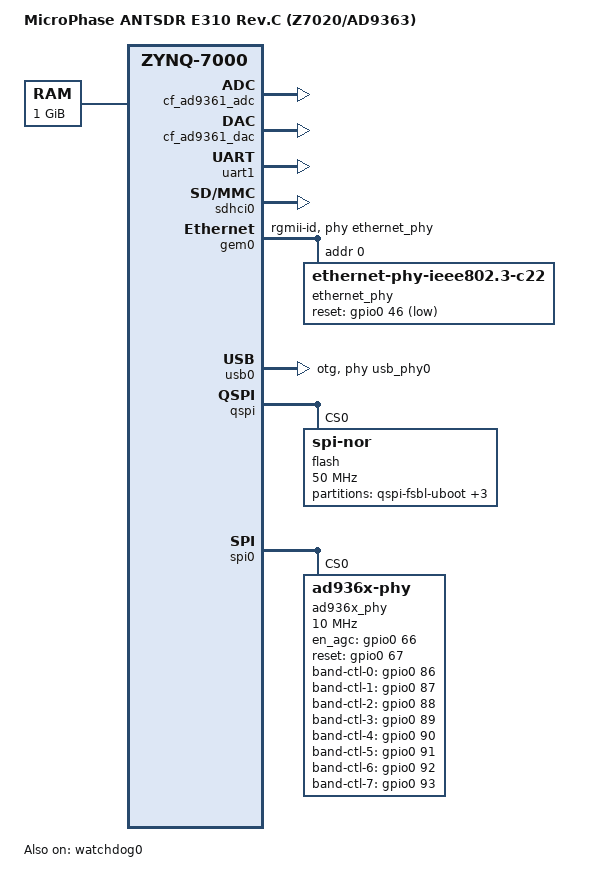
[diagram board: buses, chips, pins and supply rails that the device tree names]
// SPDX-License-Identifier: GPL-2.0-only
/*
 * MicroPhase ANTSDR E310 Rev.C (Zynq-7020 / AD9363)
 *
 * Copyright (C) 2021-2024 MicroPhase Inc.
 * Copyright (C) 2026 Cyfrit <i@cli.tf>
 */

#include "zynq.dtsi"
#include <dt-bindings/gpio/gpio.h>
#include <dt-bindings/interrupt-controller/irq.h>

#define AD9361_EXT_BAND_CTL_SHORTHANDS
#include <dt-bindings/iio/adc/adi,ad9361.h>

/ {
	model = "MicroPhase ANTSDR E310 Rev.C (Z7020/AD9363)";
	compatible = "microphase,antsdr-e310-revc", "microphase,antsdr-e310",
		     "xlnx,zynq-7000";

	aliases {
		ethernet0 = &gem0;
		mmc0 = &sdhci0;
		serial0 = &uart1;
	};

	memory@0 {
		device_type = "memory";
		reg = <0x00000000 0x40000000>;
	};

	chosen {
		stdout-path = "serial0:115200n8";
	};

	clocks {
		ad9361_clkin: ad9361-refclk {
			#clock-cells = <0>;
			compatible = "adjustable-clock";
			clock-frequency = <40000000>;
			clock-accuracy = <200000>;
			clock-output-names = "ad9361_ext_refclk";
		};
	};

	usb_phy0: usb-phy@e0002000 {
		compatible = "ulpi-phy";
		#phy-cells = <0>;
		reg = <0xe0002000 0x1000>;
		view-port = <0x0170>;
		drv-vbus;
	};

	fpga_axi: fpga-axi {
		compatible = "simple-bus";
		#address-cells = <1>;
		#size-cells = <1>;
		ranges;

		rx_dma: dma@7c400000 {
			compatible = "adi,axi-dmac-1.00.a";
			reg = <0x7c400000 0x10000>;
			#dma-cells = <1>;
			interrupt-parent = <&intc>;
			interrupts = <0 57 IRQ_TYPE_LEVEL_HIGH>;
			clocks = <&clkc 16>;

			adi,channels {
				#address-cells = <1>;
				#size-cells = <0>;

				dma-channel@0 {
					reg = <0>;
					adi,source-bus-width = <32>;
					adi,source-bus-type = <2>;
					adi,destination-bus-width = <64>;
					adi,destination-bus-type = <0>;
				};
			};
		};

		tx_dma: dma@7c420000 {
			compatible = "adi,axi-dmac-1.00.a";
			reg = <0x7c420000 0x10000>;
			#dma-cells = <1>;
			interrupt-parent = <&intc>;
			interrupts = <0 56 IRQ_TYPE_LEVEL_HIGH>;
			clocks = <&clkc 16>;

			adi,channels {
				#address-cells = <1>;
				#size-cells = <0>;

				dma-channel@0 {
					reg = <0>;
					adi,source-bus-width = <64>;
					adi,source-bus-type = <0>;
					adi,destination-bus-width = <32>;
					adi,destination-bus-type = <2>;
				};
			};
		};

		cf_ad9361_adc: cf-ad9361-lpc@79020000 {
			compatible = "adi,axi-ad9361-6.00.a";
			reg = <0x79020000 0x6000>;
			dmas = <&rx_dma 0>;
			dma-names = "rx";
			spibus-connected = <&ad936x_phy>;
			adi,axi-decimation-core-available;
		};

		cf_ad9361_dac: cf-ad9361-dds-core-lpc@79024000 {
			compatible = "adi,axi-ad9361-dds-6.00.a";
			reg = <0x79024000 0x1000>;
			clocks = <&ad936x_phy 13>;
			clock-names = "sampl_clk";
			dmas = <&tx_dma 0>;
			dma-names = "tx";
			adi,axi-interpolation-core-available;
			adi,axi-dds-default-scale = <0>;
		};

		axi_tdd: tdd@7c440000 {
			compatible = "adi,axi-tdd-1.00";
			reg = <0x7c440000 0x10000>;
			clocks = <&clkc 15>, <&ad936x_phy 13>;
			clock-names = "s_axi_aclk", "intf_clk";
			label = "e310-tdd";
		};

		e310_vcxo: vcxo-control@43c00000 {
			compatible = "microphase,antsdr-e310-vcxo";
			reg = <0x43c00000 0x1000>;
		};
	};
};

&uart1 {
	status = "okay";
};

&sdhci0 {
	status = "okay";
	xlnx,has-cd = <0>;
	xlnx,has-power = <0>;
	xlnx,has-wp = <0>;
};

&watchdog0 {
	status = "okay";
	reset-on-timeout;
};

&gem0 {
	status = "okay";
	phy-mode = "rgmii-id";
	phy-handle = <&ethernet_phy>;
	#address-cells = <1>;
	#size-cells = <0>;

	ethernet_phy: ethernet-phy@0 {
		compatible = "ethernet-phy-ieee802.3-c22";
		reg = <0>;
		reset-gpios = <&gpio0 46 GPIO_ACTIVE_LOW>;
	};
};

&usb0 {
	status = "okay";
	/* The pinned ChipIdea driver drives this legacy resetb GPIO low, then high. */
	xlnx,phy-reset-gpio = <&gpio0 47 GPIO_ACTIVE_LOW>;
	dr_mode = "otg";
	usb-phy = <&usb_phy0>;
};

&qspi {
	status = "okay";
	is-dual = <0>;
	num-cs = <1>;
	spi-nor-locking-disable;

	flash@0 {
		compatible = "jedec,spi-nor";
		reg = <0>;
		spi-max-frequency = <50000000>;
		spi-tx-bus-width = <1>;
		spi-rx-bus-width = <4>;

		partitions {
			compatible = "fixed-partitions";
			#address-cells = <1>;
			#size-cells = <1>;

			partition@0 {
				label = "qspi-fsbl-uboot";
				reg = <0x000000 0x100000>;
			};

			partition@100000 {
				label = "qspi-uboot-env";
				reg = <0x100000 0x020000>;
			};

			partition@120000 {
				label = "qspi-nvmfs";
				reg = <0x120000 0x0e0000>;
			};

			partition@200000 {
				label = "qspi-linux";
				reg = <0x200000 0x1e00000>;
			};
		};
	};
};

&adc {
	xlnx,channels {
		#address-cells = <1>;
		#size-cells = <0>;

		channel@0 {
			reg = <0>;
		};
	};
};

&spi0 {
	status = "okay";

	ad936x_phy: ad936x-phy@0 {
		reg = <0>;
		spi-cpha;
		spi-max-frequency = <10000000>;
		#clock-cells = <1>;

		clocks = <&ad9361_clkin>;
		clock-names = "ad9361_ext_refclk";
		clock-output-names = "rx_sampl_clk", "tx_sampl_clk";

		adi,pp-tx-swap-enable;
		adi,pp-rx-swap-enable;
		adi,rx-frame-pulse-mode-enable;
		adi,xo-disable-use-ext-refclk-enable;
		adi,full-port-enable;
		adi,digital-interface-tune-fir-disable;
		adi,digital-interface-tune-skip-mode = <0>;
		adi,tx-fb-clock-delay = <0>;
		adi,tx-data-delay = <9>;
		adi,swap-ports-enable;

		adi,frequency-division-duplex-mode-enable;

		adi,rx-rf-port-input-select = <0>;
		adi,rx-rf-port-input-select-lock-enable;
		adi,tx-rf-port-input-select = <0>;
		adi,tx-rf-port-input-select-lock-enable;
		adi,tx-attenuation-mdB = <10000>;
		adi,tx-lo-powerdown-managed-enable;

		adi,rf-rx-bandwidth-hz = <18000000>;
		adi,rf-tx-bandwidth-hz = <18000000>;
		adi,rx-synthesizer-frequency-hz = /bits/ 64 <2400000000>;
		adi,tx-synthesizer-frequency-hz = /bits/ 64 <2450000000>;
		adi,rx-path-clock-frequencies =
			<983040000 245760000 122880000 61440000 30720000 30720000>;
		adi,tx-path-clock-frequencies =
			<983040000 122880000 122880000 61440000 30720000 30720000>;

		adi,gc-rx1-mode = <2>;
		adi,gc-rx2-mode = <2>;
		adi,gc-adc-ovr-sample-size = <4>;
		adi,gc-adc-small-overload-thresh = <47>;
		adi,gc-adc-large-overload-thresh = <58>;
		adi,gc-lmt-overload-high-thresh = <800>;
		adi,gc-lmt-overload-low-thresh = <704>;
		adi,gc-dec-pow-measurement-duration = <8192>;
		adi,gc-low-power-thresh = <24>;

		adi,mgc-inc-gain-step = <2>;
		adi,mgc-dec-gain-step = <2>;
		adi,mgc-split-table-ctrl-inp-gain-mode = <0>;

		adi,agc-attack-delay-extra-margin-us = <1>;
		adi,agc-outer-thresh-high = <5>;
		adi,agc-outer-thresh-high-dec-steps = <2>;
		adi,agc-inner-thresh-high = <10>;
		adi,agc-inner-thresh-high-dec-steps = <1>;
		adi,agc-inner-thresh-low = <12>;
		adi,agc-inner-thresh-low-inc-steps = <1>;
		adi,agc-outer-thresh-low = <18>;
		adi,agc-outer-thresh-low-inc-steps = <2>;
		adi,agc-adc-small-overload-exceed-counter = <10>;
		adi,agc-adc-large-overload-exceed-counter = <10>;
		adi,agc-adc-large-overload-inc-steps = <2>;
		adi,agc-lmt-overload-large-exceed-counter = <10>;
		adi,agc-lmt-overload-small-exceed-counter = <10>;
		adi,agc-lmt-overload-large-inc-steps = <2>;
		adi,agc-gain-update-interval-us = <1000>;

		adi,fagc-dec-pow-measurement-duration = <64>;
		adi,fagc-lp-thresh-increment-steps = <1>;
		adi,fagc-lp-thresh-increment-time = <5>;
		adi,fagc-energy-lost-stronger-sig-gain-lock-exit-cnt = <8>;
		adi,fagc-final-overrange-count = <3>;
		adi,fagc-gain-index-type-after-exit-rx-mode = <0>;
		adi,fagc-lmt-final-settling-steps = <1>;
		adi,fagc-lock-level = <10>;
		adi,fagc-lock-level-gain-increase-upper-limit = <5>;
		adi,fagc-lock-level-lmt-gain-increase-enable;
		adi,fagc-lpf-final-settling-steps = <1>;
		adi,fagc-optimized-gain-offset = <5>;
		adi,fagc-power-measurement-duration-in-state5 = <64>;
		adi,fagc-rst-gla-engergy-lost-goto-optim-gain-enable;
		adi,fagc-rst-gla-engergy-lost-sig-thresh-below-ll = <10>;
		adi,fagc-rst-gla-engergy-lost-sig-thresh-exceeded-enable;
		adi,fagc-rst-gla-if-en-agc-pulled-high-mode = <0>;
		adi,fagc-rst-gla-large-adc-overload-enable;
		adi,fagc-rst-gla-large-lmt-overload-enable;
		adi,fagc-rst-gla-stronger-sig-thresh-above-ll = <10>;
		adi,fagc-rst-gla-stronger-sig-thresh-exceeded-enable;
		adi,fagc-state-wait-time-ns = <260>;
		adi,fagc-use-last-lock-level-for-set-gain-enable;

		adi,rssi-restart-mode = <3>;
		adi,rssi-delay = <1>;
		adi,rssi-wait = <1>;
		adi,rssi-duration = <1000>;
		adi,ctrl-outs-index = <0>;
		adi,ctrl-outs-enable-mask = <0xff>;

		adi,temp-sense-measurement-interval-ms = <1000>;
		adi,temp-sense-offset-signed = <0xce>;
		adi,temp-sense-periodic-measurement-enable;
		adi,aux-dac-manual-mode-enable;
		adi,aux-dac1-default-value-mV = <0>;
		adi,aux-dac1-rx-delay-us = <0>;
		adi,aux-dac1-tx-delay-us = <0>;
		adi,aux-dac2-default-value-mV = <0>;
		adi,aux-dac2-rx-delay-us = <0>;
		adi,aux-dac2-tx-delay-us = <0>;

		en_agc-gpios = <&gpio0 66 GPIO_ACTIVE_HIGH>;
		/* ADI's driver uses logical 0/1 as the physical RESETB levels. */
		reset-gpios = <&gpio0 67 GPIO_ACTIVE_HIGH>;
		adi,band-ctl-0-gpio = <&gpio0 86 GPIO_ACTIVE_HIGH>;
		adi,band-ctl-1-gpio = <&gpio0 87 GPIO_ACTIVE_HIGH>;
		adi,band-ctl-2-gpio = <&gpio0 88 GPIO_ACTIVE_HIGH>;
		adi,band-ctl-3-gpio = <&gpio0 89 GPIO_ACTIVE_HIGH>;
		adi,band-ctl-4-gpio = <&gpio0 90 GPIO_ACTIVE_HIGH>;
		adi,band-ctl-5-gpio = <&gpio0 91 GPIO_ACTIVE_HIGH>;
		adi,band-ctl-6-gpio = <&gpio0 92 GPIO_ACTIVE_HIGH>;
		adi,band-ctl-7-gpio = <&gpio0 93 GPIO_ACTIVE_HIGH>;

		ad9361_rx_port_a: ad9361-rx-port-a {
			adi,rx-rf-port-input-select = <0>;
		};

		ad9361_rx_port_b: ad9361-rx-port-b {
			adi,rx-rf-port-input-select = <1>;
		};

		ad9361_tx_port_a: ad9361-tx-port-a {
			adi,tx-rf-port-input-select = <0>;
		};

		ad9361_tx_port_b: ad9361-tx-port-b {
			adi,tx-rf-port-input-select = <1>;
		};

		rx-low-band {
			adi,lo-freq-min = /bits/ 64 <0>;
			adi,lo-freq-max = /bits/ 64 <3000000000>;
			adi,gpio-settings = <L H _ _ L H _ _>;
			adi,band-ctl-post = <&ad9361_rx_port_b 0>;
		};

		rx-high-band {
			adi,lo-freq-min = /bits/ 64 <3000000000>;
			adi,lo-freq-max = /bits/ 64 <6000000000>;
			adi,gpio-settings = <H L _ _ H L _ _>;
			adi,band-ctl-post = <&ad9361_rx_port_a 0>;
		};

		tx-low-band {
			adi,lo-freq-min = /bits/ 64 <0>;
			adi,lo-freq-max = /bits/ 64 <3000000000>;
			adi,gpio-settings = <_ _ L H _ _ L H>;
			adi,band-ctl-post = <&ad9361_tx_port_b 0>;
		};

		tx-high-band {
			adi,lo-freq-min = /bits/ 64 <3000000000>;
			adi,lo-freq-max = /bits/ 64 <6000000000>;
			adi,gpio-settings = <_ _ H L _ _ H L>;
			adi,band-ctl-post = <&ad9361_tx_port_a 0>;
		};
	};
};
